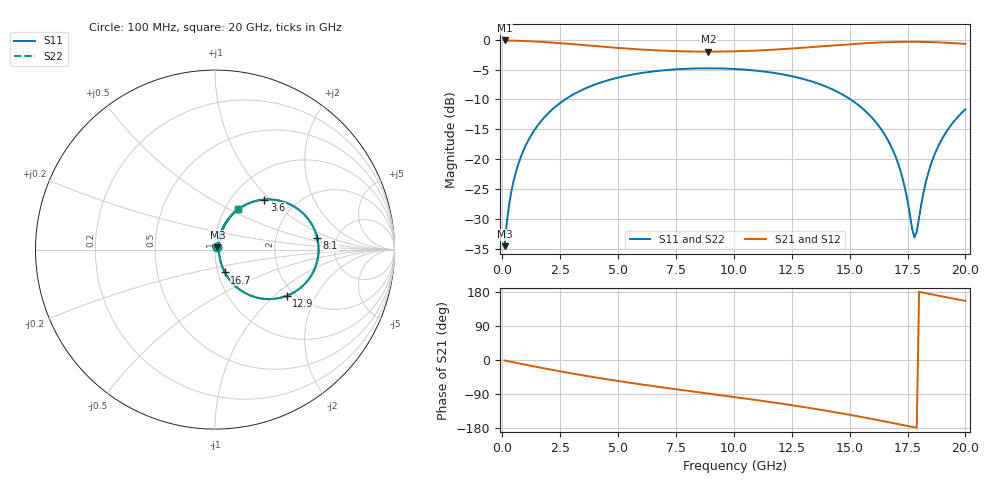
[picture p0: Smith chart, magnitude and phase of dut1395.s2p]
! Touchstone file exported from HFSS 2026.1.0
!  File:  C:/ffzhzh/LocalFiles/Ansys_Project_Files/temp_train_TSV_RDL_1395_1783350400_37376.aedt
!  Generated:  11:19:01 PM Jul  6, 2026
!  Design:  TSV_RDL
!  Project:  temp_train_TSV_RDL_1395_1783350400_37376
! Variables:
!  h_bsmrdl = 5.12um
!  h_ox = 20um
!  h_rdl = 5um
!  h_sub = 89.21um
!  h_tmrdl = 3.69um
!  h_tsv = 89.21um
!  h_via = 3um
!  l_bsmrdl = 715.46um
!  l_sub = 3158.42um
!  l_tmrdl = 126.94um
!  m_sub = 200um
!  pitch = 59.71um
!  r_tsv = 13.79um
!  s_tmrdl = 10um
!  w_bsmrdl = 16.6um
!  w_sub = 500um
!  w_tmrdl = 18.16um
!  x_tsv_center1 = 136.02um
!  x_tsv_center2 = 868.08um
!  x_tsv_center3 = 1013.18um
!  x_tsv_center4 = 1745.24um
!  x_tsv_center5 = 1890.34um
!  x_tsv_center6 = 2622.4um
# GHz S MA R 50.000000
! Terminal data exported
! Port[1] = TM_RDL1_1_T1
! Port[2] = TM_RDL5_1_T1
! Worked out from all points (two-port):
!   200 points, 100 MHz to 20 GHz, reference 50 ohm
!   highest |S21| = -0.11 dB at 100 MHz (marker M1); lowest = -2.0 dB at 8.9 GHz (marker M2)
!   |S21| within 3 dB of the highest: start of sweep to end of sweep
!   lowest |S11| = -34.6 dB at 100 MHz (marker M3), VSWR 1.04, Z = 51.3 + j1.37 ohm
!   |S11| at or under -10 dB: start of sweep to 2.714 GHz; 15.04 GHz to end of sweep
!   |S22| runs from -34.6 to -4.8 dB; largest |S21 - S12| = 1.9e-14
!   S11 on the Smith chart (normalised r, x): 100 MHz: 1.03, +0.03; 3.6 GHz: 1.40, +0.93; 8.1 GHz: 3.55, +0.67; 12.9 GHz: 1.81, -1.20; 16.7 GHz: 1.08, -0.28; 20 GHz: 1.15, +0.56
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0.1  0.01863 45.6  0.9872 -1.3  0.9872 -1.3  0.01863 45.6
! Gamma 0 0 0 0
! Port Impedance 50 0 50 0
0.3  0.04231 67.3  0.9855 -3.8  0.9855 -3.8  0.04231 67.3
0.5  0.06717 71.2  0.9833 -6.3  0.9833 -6.3  0.06717 71.2
1.1  0.1408 69.9  0.9742 -13.6  0.9742 -13.6  0.1408 69.9
2.1  0.2547 60.6  0.9494 -25.5  0.9494 -25.5  0.2547 60.6
3.5  0.3844 46.3  0.9034 -40.8  0.9034 -40.8  0.3844 46.3
3.6  0.3923 45.3  0.8999 -41.8  0.8999 -41.8  0.3923 45.3
6.8  0.551 16.8  0.8132 -71.3  0.8132 -71.3  0.551 16.8
8.1  0.5734 6.3  0.7981 -82.1  0.7981 -82.1  0.5734 6.3
8.9  0.5771 0.0  0.7956 -88.6  0.7956 -88.6  0.5771 0.0
10.1  0.5685 -9.4  0.8013 -98.4  0.8013 -98.4  0.5685 -9.4
12.9  0.4747 -32.9  0.8556 -123.0  0.8556 -123.0  0.4747 -32.9
13.4  0.4452 -37.5  0.8699 -127.9  0.8699 -127.9  0.4452 -37.5
15.4  0.2814 -56.5  0.9287 -149.0  0.9287 -149.0  0.2814 -56.5
16.7  0.1386 -66.8  0.9556 -164.3  0.9556 -164.3  0.1386 -66.8
17.3  0.06749 -64.0  0.9612 -171.6  0.9612 -171.6  0.06748 -64.0
17.8  0.02202 -2.6  0.962 -177.7  0.962 -177.7  0.02202 -2.6
17.9  0.02467 26.7  0.9617 -178.9  0.9617 -178.9  0.02467 26.8
18.3  0.06509 65.2  0.959 176.2  0.959 176.2  0.06509 65.2
18.6  0.1008 68.8  0.9554 172.5  0.9554 172.5  0.1008 68.8
19.2  0.1721 66.9  0.9447 165.3  0.9447 165.3  0.1721 66.9
20  0.2613 60.3  0.924 155.9  0.924 155.9  0.2613 60.3
